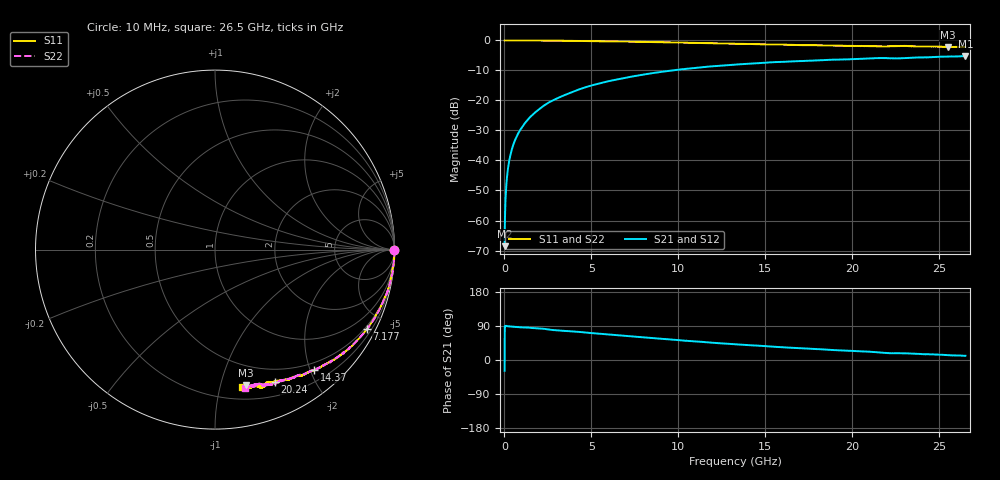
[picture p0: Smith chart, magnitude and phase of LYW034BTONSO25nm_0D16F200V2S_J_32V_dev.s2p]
!Keysight Technologies,N5222B,MY61253708,A.15.00.15
!Date: Wednesday, June 19, 2024 08:55:24
!Correction: S11(C  2-Port  )
!S21(C  2-Port  )
!S12(C  2-Port  )
!S22(C  2-Port  )
!S2P File: Measurements: S11, S21, S12, S22:
# Hz S  RI  R 50
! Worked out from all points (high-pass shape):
!   2651 points, 10 MHz to 26.5 GHz, reference 50 ohm
!   highest |S21| = -5.20 dB at 26.5 GHz (marker M1); lowest = -68.6 dB at 10 MHz (marker M2)
!   |S21| within 3 dB of the highest: 12.93 GHz to end of sweep
!   lowest |S11| = -2.2 dB at 25.5 GHz (marker M3), VSWR 7.80, Z = 16.1 - j60 ohm
!   |S11| at or under -10 dB: nowhere
!   |S22| runs from -2.1 to 0.0 dB; largest |S21 - S12| = 0.0075
!   S11 on the Smith chart (normalised r, x): 10 MHz: open; 7.177 GHz: 0.40, -4.02; 14.37 GHz: 0.37, -2.06; 20.24 GHz: 0.35, -1.49; 26.5 GHz: 0.30, -1.18
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1e7  0.9987 -0.00211  0.000328 -0.000179  0.000162 0.000141  0.9987 -0.000693
7.997358e7  0.9998 -0.00587  -6.48e-06 0.00289  2.45e-06 0.00291  0.9993 -0.00549
1.499472e8  0.9998 -0.0115  8.27e-05 0.00539  6.5e-05 0.00542  0.9995 -0.0108
1.899321e8  1 -0.0135  9.61e-05 0.00685  9.76e-05 0.00687  0.9998 -0.0128
2.399132e8  0.9992 -0.0176  0.000147 0.00865  0.000174 0.0087  0.9991 -0.0167
3.398755e8  0.9991 -0.0244  0.000318 0.0122  0.000306 0.0123  0.9993 -0.0234
4.598302e8  0.9988 -0.0331  0.000537 0.0165  0.000527 0.0166  0.9987 -0.0322
6.197698e8  0.9986 -0.0441  0.00107 0.0222  0.00106 0.0224  0.9985 -0.0434
8.096981e8  0.9977 -0.0574  0.00168 0.0289  0.00166 0.0291  0.9972 -0.0562
1.43946e9  0.9893 -0.1024  0.00419 0.0514  0.00423 0.0516  0.992 -0.0987
2.329125e9  0.979 -0.1599  0.0119 0.0838  0.0121 0.0843  0.9805 -0.1599
3.138819e9  0.9663 -0.214  0.0237 0.1096  0.0239 0.1103  0.9674 -0.2122
4.428332e9  0.9347 -0.2939  0.0446 0.1515  0.045 0.1523  0.9368 -0.2905
7.177294e9  0.8457 -0.4433  0.1129 0.2182  0.1144 0.219  0.8484 -0.4411
8.846664e9  0.7808 -0.5171  0.1622 0.2463  0.1636 0.247  0.7834 -0.5146
1.3255e10  0.5957 -0.6495  0.296 0.2628  0.2981 0.2627  0.6006 -0.6476
1.437458e10  0.5518 -0.6722  0.3259 0.2567  0.3274 0.2569  0.5567 -0.6677
1.767333e10  0.4197 -0.7183  0.4019 0.2262  0.4051 0.2249  0.4326 -0.7161
2.024236e10  0.3328 -0.7375  0.4512 0.1942  0.4537 0.1928  0.3496 -0.737
2.209166e10  0.2869 -0.7424  0.4807 0.1581  0.4822 0.1559  0.2831 -0.7496
2.550038e10  0.1709 -0.7535  0.5262 0.1177  0.5275 0.1187  0.193 -0.7594
2.65e10  0.1532 -0.7681  0.5394 0.1066  0.5384 0.1037  0.1671 -0.7685
